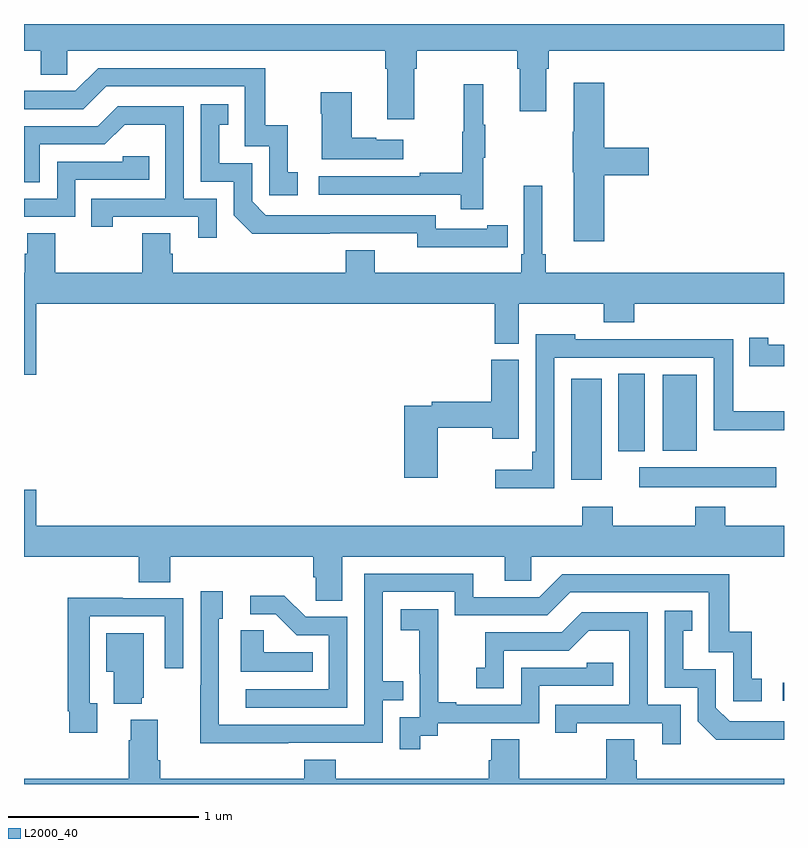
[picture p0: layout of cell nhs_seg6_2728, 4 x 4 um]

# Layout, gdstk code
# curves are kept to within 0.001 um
import gdstk
lib = gdstk.Library(unit=1e-6, precision=1e-09)
def R(c, l, rs):  # rectangles x0, y0, x1, y1
    for r in rs: c.add(gdstk.rectangle(r[:2], r[2:], *l))
def P(c, l, *ps):  # polygons
    for p in ps: c.add(gdstk.Polygon(p, *l))
L2000_40 = (2000, 40)

nhs_seg6_2728 = lib.new_cell('nhs_seg6_2728')
R(nhs_seg6_2728, L2000_40, [(276.993,919.938,277,920.034), (276.237,921.062,276.958,921.166), (275.879,921.102,276.04,921.634), (276.128,921.251,276.268,921.659), (276.362,921.254,276.541,921.655)])
P(nhs_seg6_2728, L2000_40, [(275.053,923.264),(275.066,923.264),(275.066,923.36),(275.597,923.36),(275.597,923.264),(275.609,923.264),(275.609,923.04),(275.749,923.04),(275.749,923.264),(275.762,923.264),(275.762,923.36),(277,923.36),(277,923.5),(273,923.5),(273,923.36),(273.089,923.36),(273.089,923.233),(273.228,923.233),(273.228,923.36),(274.901,923.36),(274.901,923.264),(274.913,923.264),(274.913,922.998),(275.053,922.998)],
  [(274.441,922.719),(274.388,922.719),(274.388,922.966),(274.27,922.966),(274.27,923.268),(273.39,923.268),(273.27,923.148),(273,923.148),(273,923.052),(273.312,923.052),(273.432,923.172),(274.161,923.172),(274.161,922.857),(274.29,922.857),(274.29,922.599),(274.441,922.599)],
  [(276.053,922.703),(276.289,922.703),(276.289,922.85),(276.053,922.85),(276.053,923.191),(275.894,923.191),(275.894,922.933),(275.887,922.933),(275.887,922.719),(275.894,922.719),(275.894,922.356),(276.053,922.356)],
  [(275.417,922.795),(275.428,922.795),(275.428,922.969),(275.417,922.969),(275.417,923.182),(275.314,923.182),(275.314,922.932),(275.307,922.932),(275.307,922.718),(275.083,922.718),(275.083,922.698),(274.551,922.698),(274.551,922.602),(275.299,922.602),(275.299,922.524),(275.417,922.524)],
  [(274.996,922.891),(274.853,922.891),(274.853,922.901),(274.726,922.901),(274.726,923.14),(274.561,923.14),(274.561,923.027),(274.568,923.027),(274.568,922.787),(274.996,922.787)],
  [(275.438,922.326),(275.546,922.326),(275.546,922.442),(275.438,922.442),(275.438,922.422),(275.166,922.422),(275.166,922.494),(274.272,922.494),(274.2,922.566),(274.2,922.767),(274.027,922.767),(274.027,922.971),(274.076,922.971),(274.076,923.077),(273.93,923.077),(273.93,922.671),(274.104,922.671),(274.104,922.494),(274.202,922.397),(275.07,922.398),(275.07,922.325)],
  [(274.014,922.581),(273.84,922.581),(273.84,923.067),(273.494,923.067),(273.389,922.962),(273,922.962),(273,922.668),(273.084,922.668),(273.084,922.866),(273.426,922.866),(273.53,922.97),(273.744,922.97),(273.744,922.581),(273.355,922.581),(273.355,922.434),(273.466,922.434),(273.466,922.485),(273.917,922.485),(273.917,922.374),(274.014,922.374)],
  [(273.27,922.68),(273.659,922.68),(273.659,922.803),(273.519,922.803),(273.519,922.776),(273.174,922.776),(273.174,922.581),(273,922.581),(273,922.485),(273.27,922.485)],
  [(275.728,922.288),(275.728,922.648),(275.631,922.648),(275.631,922.288),(275.618,922.288),(275.618,922.192),(274.846,922.192),(274.846,922.309),(274.694,922.309),(274.694,922.192),(273.782,922.192),(273.782,922.29),(273.769,922.29),(273.769,922.4),(273.622,922.4),(273.622,922.192),(273.165,922.192),(273.165,922.4),(273.017,922.4),(273.017,922.29),(273.005,922.29),(273.005,922.192),(273,922.192),(273,921.654),(273.064,921.654),(273.064,922.028),(275.477,922.028),(275.477,921.817),(275.605,921.817),(275.605,922.028),(276.052,922.028),(276.052,921.929),(276.212,921.929),(276.212,922.028),(277,922.028),(277,922.192),(275.747,922.192),(275.747,922.288)],
  [(275.79,921.744),(276.629,921.744),(276.629,921.362),(277,921.362),(277,921.462),(276.733,921.462),(276.733,921.842),(276.295,921.842),(276.295,921.84),(275.901,921.84),(275.901,921.868),(275.694,921.868),(275.694,921.25),(275.674,921.25),(275.674,921.154),(275.481,921.154),(275.481,921.056),(275.79,921.056)],
  [(277,921.811),(276.918,921.811),(276.918,921.85),(276.818,921.85),(276.818,921.7),(277,921.7)],
  [(275.178,921.376),(275.464,921.376),(275.464,921.318),(275.605,921.318),(275.605,921.732),(275.459,921.732),(275.459,921.512),(275.146,921.512),(275.146,921.492),(275,921.492),(275,921.111),(275.178,921.111)],
  [(274.675,920.696),(275.531,920.696),(275.531,920.569),(275.67,920.569),(275.67,920.696),(277,920.696),(277,920.86),(276.692,920.86),(276.692,920.959),(276.532,920.959),(276.532,920.86),(276.099,920.86),(276.099,920.959),(275.939,920.959),(275.939,920.86),(273.064,920.86),(273.064,921.049),(273,921.049),(273,920.696),(273.605,920.696),(273.605,920.563),(273.77,920.563),(273.77,920.696),(274.523,920.696),(274.523,920.587),(274.536,920.587),(274.536,920.464),(274.675,920.464)],
  [(274.391,919.716),(274.887,919.716),(274.887,919.941),(274.997,919.941),(274.997,920.042),(274.887,920.042),(274.887,920.511),(275.268,920.511),(275.268,920.388),(275.754,920.388),(275.874,920.508),(276.603,920.508),(276.603,920.193),(276.732,920.193),(276.732,919.935),(276.883,919.935),(276.883,920.055),(276.83,920.055),(276.83,920.302),(276.712,920.302),(276.712,920.604),(275.832,920.604),(275.712,920.484),(275.365,920.484),(275.365,920.607),(274.791,920.607),(274.791,919.812),(274.026,919.812),(274.026,920.37),(274.045,920.37),(274.045,920.515),(273.93,920.515),(273.93,920.021),(273.928,920.021),(273.928,919.715)],
  [(274.701,920.379),(274.482,920.379),(274.369,920.492),(274.191,920.492),(274.191,920.394),(274.325,920.394),(274.436,920.283),(274.605,920.283),(274.605,919.998),(274.167,919.998),(274.167,919.902),(274.701,919.902)],
  [(273.385,919.926),(273.345,919.926),(273.345,920.382),(273.741,920.382),(273.741,920.109),(273.837,920.109),(273.837,920.478),(273.521,920.478),(273.521,920.48),(273.229,920.48),(273.229,919.882),(273.237,919.882),(273.237,919.77),(273.385,919.77)],
  [(275.086,919.753),(275.178,919.753),(275.178,919.821),(275.712,919.821),(275.712,920.016),(276.101,920.016),(276.101,920.139),(275.961,920.139),(275.961,920.112),(275.616,920.112),(275.616,919.917),(275.275,919.917),(275.275,919.93),(275.18,919.93),(275.18,920.213),(275.181,920.213),(275.181,920.419),(274.983,920.419),(274.983,920.309),(275.081,920.309),(275.081,920.081),(275.082,920.081),(275.082,919.851),(274.977,919.851),(274.977,919.683),(275.086,919.683)],
  [(277,919.83),(276.714,919.83),(276.642,919.902),(276.642,920.103),(276.469,920.103),(276.469,920.307),(276.518,920.307),(276.518,920.413),(276.372,920.413),(276.372,920.007),(276.546,920.007),(276.546,919.83),(276.644,919.733),(277,919.733)],
  [(276.456,919.917),(276.282,919.917),(276.282,920.403),(275.936,920.403),(275.831,920.298),(275.428,920.298),(275.428,920.113),(275.379,920.113),(275.379,920.004),(275.526,920.004),(275.526,920.202),(275.868,920.202),(275.972,920.306),(276.186,920.306),(276.186,919.917),(275.797,919.917),(275.797,919.77),(275.908,919.77),(275.908,919.821),(276.359,919.821),(276.359,919.71),(276.456,919.71)],
  [(274.52,920.194),(274.263,920.194),(274.263,920.309),(274.142,920.309),(274.142,920.09),(274.52,920.09)],
  [(273.62,919.953),(273.631,919.953),(273.631,920.293),(273.434,920.293),(273.434,920.09),(273.473,920.09),(273.473,919.922),(273.62,919.922)],
  [(277,919.528),(276.224,919.528),(276.224,919.626),(276.211,919.626),(276.211,919.736),(276.064,919.736),(276.064,919.528),(275.607,919.528),(275.607,919.736),(275.459,919.736),(275.459,919.626),(275.447,919.626),(275.447,919.528),(274.64,919.528),(274.64,919.627),(274.475,919.627),(274.475,919.528),(273.716,919.528),(273.716,919.624),(273.703,919.624),(273.703,919.837),(273.563,919.837),(273.563,919.73),(273.551,919.73),(273.551,919.528),(273,919.528),(273,919.5),(277,919.5)])

lib.write_gds('nhs_seg6_2728.gds')
